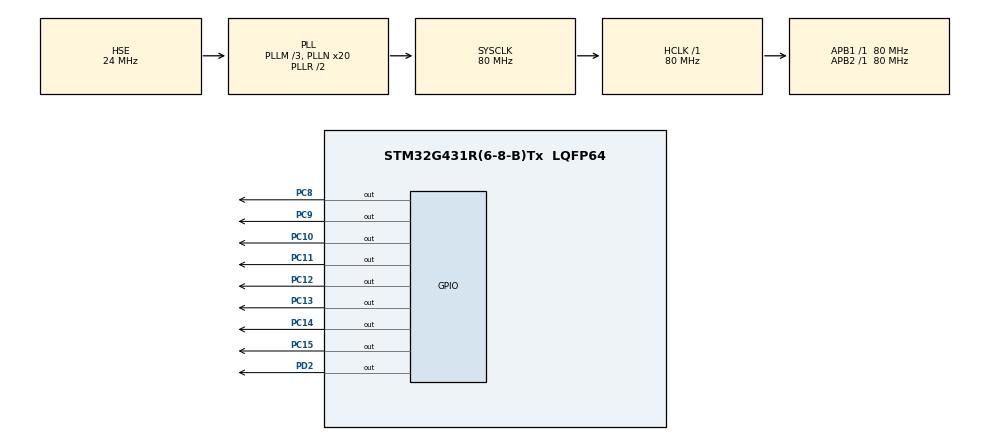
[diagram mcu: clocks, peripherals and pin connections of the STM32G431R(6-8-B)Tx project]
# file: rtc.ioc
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Mcu.Family=STM32G4
Mcu.Name=STM32G431R(6-8-B)Tx
Mcu.Package=LQFP64
NVIC.PriorityGroup=NVIC_PRIORITYGROUP_4
NVIC.TIM3_IRQn=true\:0\:0\:false\:false\:true\:true\:true
PA13.Mode=Serial_Wire
PA13.Signal=SYS_JTMS-SWDIO
PA14.Mode=Serial_Wire
PA14.Signal=SYS_JTCK-SWCLK
PC10.PinState=GPIO_PIN_SET
PC10.Signal=GPIO_Output
PC11.PinState=GPIO_PIN_SET
PC11.Signal=GPIO_Output
PC12.PinState=GPIO_PIN_SET
PC12.Signal=GPIO_Output
PC13.PinState=GPIO_PIN_SET
PC13.Signal=GPIO_Output
PC14-OSC32_IN.PinState=GPIO_PIN_SET
PC14-OSC32_IN.Signal=GPIO_Output
PC15-OSC32_OUT.PinState=GPIO_PIN_SET
PC15-OSC32_OUT.Signal=GPIO_Output
PC8.PinState=GPIO_PIN_SET
PC8.Signal=GPIO_Output
PC9.PinState=GPIO_PIN_SET
PC9.Signal=GPIO_Output
PD2.Signal=GPIO_Output
PF0-OSC_IN.Mode=HSE-External-Oscillator
PF0-OSC_IN.Signal=RCC_OSC_IN
PF1-OSC_OUT.Mode=HSE-External-Oscillator
PF1-OSC_OUT.Signal=RCC_OSC_OUT
ProjectManager.HeapSize=0x200
ProjectManager.StackSize=0x400
ProjectManager.TargetToolchain=MDK-ARM V5
RCC.ADC12Freq_Value=80000000
RCC.AHBFreq_Value=80000000
RCC.APB1Freq_Value=80000000
RCC.APB1TimFreq_Value=80000000
RCC.APB2Freq_Value=80000000
RCC.APB2TimFreq_Value=80000000
RCC.CortexFreq_Value=80000000
RCC.EXTERNAL_CLOCK_VALUE=12288000
RCC.HCLKFreq_Value=80000000
RCC.HSE_VALUE=24000000
RCC.HSI48_VALUE=48000000
RCC.HSI_VALUE=16000000
RCC.LSE_VALUE=32768
RCC.PLLM=RCC_PLLM_DIV3
RCC.PLLN=20
RCC.PLLSourceVirtual=RCC_PLLSOURCE_HSE
RCC.RTCClockSelection=RCC_RTCCLKSOURCE_HSE_DIV32
RCC.SYSCLKFreq_VALUE=80000000
RCC.SYSCLKSource=RCC_SYSCLKSOURCE_PLLCLK
RCC.USBFreq_Value=80000000
RCC.VCOOutputFreq_Value=160000000
RTC.AsynchPrediv=125
RTC.Date=26
RTC.Hours=12
RTC.Month=RTC_MONTH_FEBRUARY
RTC.SynchPrediv=6000
RTC.WeekDay=RTC_WEEKDAY_FRIDAY
TIM3.PeriodNoDither=40000-1
TIM3.Prescaler=8000-1
TIM4.PeriodNoDither=10000-1
TIM4.Prescaler=80-1
VP_RTC_VS_RTC_Activate.Mode=RTC_Enabled
VP_RTC_VS_RTC_Calendar.Mode=RTC_Calendar
VP_SYS_VS_DBSignals.Mode=DisableDeadBatterySignals
VP_TIM3_VS_ClockSourceINT.Mode=Internal
VP_TIM4_VS_ClockSourceINT.Mode=Internal
board=custom

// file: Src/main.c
/* USER CODE BEGIN Header */
/**
  ******************************************************************************
  * @file           : main.c
  * @brief          : Main program body
  ******************************************************************************
  * @attention
  *
  * <h2><center>&copy; Copyright (c) 2024 STMicroelectronics.
  * All rights reserved.</center></h2>
  *
  * This software component is licensed by ST under BSD 3-Clause license,
  * the "License"; You may not use this file except in compliance with the
  * License. You may obtain a copy of the License at:
  *                        opensource.org/licenses/BSD-3-Clause
  *
  ******************************************************************************
  */
/* USER CODE END Header */

#include "main.h"
#include "rtc.h"
#include "tim.h"
#include "gpio.h"

/* USER CODE BEGIN Includes */
#include "string.h"
#include "lcd.h"
#include "stdio.h"
#include "led.h"
__IO uint32_t uwTick_LCD_State_Pointer;
unsigned char Lcd_Disp_String[21];
unsigned int signal1,signal2,plat_flag;
unsigned int platform=1;
int plats[4];
/* USER CODE END Includes */

/* USER CODE BEGIN PV */
RTC_TimeTypeDef 	T;	//时间结构体
RTC_DateTypeDef 	D;	//日期结构体
/* USER CODE END PV */

void SystemClock_Config(void);
/* USER CODE BEGIN PFP */
void LCD_Proc(unsigned int floor);
/* USER CODE END PFP */

int main(void)
{

  /* MCU Configuration--------------------------------------------------------*/

  /* Reset of all peripherals, Initializes the Flash interface and the Systick. */
  HAL_Init();

  /* Configure the system clock */
  SystemClock_Config();

  /* Initialize all configured peripherals */
  MX_GPIO_Init();
  MX_RTC_Init();
  MX_TIM4_Init();
  MX_TIM3_Init();
  /* USER CODE BEGIN 2 */
	LCD_Init();
	LCD_Clear(Black);
	LCD_SetTextColor(White);
  LCD_SetBackColor(Black);
  Close_Led();
	Close_Flow_Led();
	HAL_TIM_Base_Start(&htim3);
  /* USER CODE END 2 */

  /* Infinite loop */
  while (1)
  {

    /* USER CODE BEGIN 3 */

		LCD_Proc(platform);
		//HAL_Delay(200);
  }
  /* USER CODE END 3 */
}

void SystemClock_Config(void)
{
  RCC_OscInitTypeDef RCC_OscInitStruct = {0};
  RCC_ClkInitTypeDef RCC_ClkInitStruct = {0};
  RCC_PeriphCLKInitTypeDef PeriphClkInit = {0};

  /** Configure the main internal regulator output voltage
  */
  HAL_PWREx_ControlVoltageScaling(PWR_REGULATOR_VOLTAGE_SCALE1);
  /** Initializes the CPU, AHB and APB busses clocks
  */
  RCC_OscInitStruct.OscillatorType = RCC_OSCILLATORTYPE_HSE;
  RCC_OscInitStruct.HSEState = RCC_HSE_ON;
  RCC_OscInitStruct.PLL.PLLState = RCC_PLL_ON;
  RCC_OscInitStruct.PLL.PLLSource = RCC_PLLSOURCE_HSE;
  RCC_OscInitStruct.PLL.PLLM = RCC_PLLM_DIV3;
  RCC_OscInitStruct.PLL.PLLN = 20;
  RCC_OscInitStruct.PLL.PLLP = RCC_PLLP_DIV2;
  RCC_OscInitStruct.PLL.PLLQ = RCC_PLLQ_DIV2;
  RCC_OscInitStruct.PLL.PLLR = RCC_PLLR_DIV2;
  if (HAL_RCC_OscConfig(&RCC_OscInitStruct) != HAL_OK)
  {
    Error_Handler();
  }
  /** Initializes the CPU, AHB and APB busses clocks
  */
  RCC_ClkInitStruct.ClockType = RCC_CLOCKTYPE_HCLK|RCC_CLOCKTYPE_SYSCLK
                              |RCC_CLOCKTYPE_PCLK1|RCC_CLOCKTYPE_PCLK2;
  RCC_ClkInitStruct.SYSCLKSource = RCC_SYSCLKSOURCE_PLLCLK;
  RCC_ClkInitStruct.AHBCLKDivider = RCC_SYSCLK_DIV1;
  RCC_ClkInitStruct.APB1CLKDivider = RCC_HCLK_DIV1;
  RCC_ClkInitStruct.APB2CLKDivider = RCC_HCLK_DIV1;

  if (HAL_RCC_ClockConfig(&RCC_ClkInitStruct, FLASH_LATENCY_3) != HAL_OK)
  {
    Error_Handler();
  }
  /** Initializes the peripherals clocks
  */
  PeriphClkInit.PeriphClockSelection = RCC_PERIPHCLK_RTC;
  PeriphClkInit.RTCClockSelection = RCC_RTCCLKSOURCE_HSE_DIV32;

  if (HAL_RCCEx_PeriphCLKConfig(&PeriphClkInit) != HAL_OK)
  {
    Error_Handler();
  }
}

/* USER CODE BEGIN 4 */
void LCD_Proc(uint floor)
{

	char text[30];
	sprintf(text, "        FLOOR        ");
	LCD_DisplayStringLine(Line2, text);
	sprintf(text, "          %d        ",floor);
	LCD_DisplayStringLine(Line3, text);

	if(uwTick-uwTick_LCD_State_Pointer<100) return;
	uwTick_LCD_State_Pointer=uwTick;

	//RTC时间和日期读取函数
	HAL_RTC_GetTime(&hrtc , &T , RTC_FORMAT_BIN);
	HAL_RTC_GetDate(&hrtc , &D , RTC_FORMAT_BIN);	//时间和日期必须同时Get，否则时间无法正常计数

	memset(Lcd_Disp_String,0,sizeof(Lcd_Disp_String));
	sprintf((char*)Lcd_Disp_String, "   Date: %02d-%02d-%02d   " ,D.Year,D.Month,D.Date);	//显示日期22-02-03
	LCD_DisplayStringLine(Line7, Lcd_Disp_String);

	memset(Lcd_Disp_String,0,sizeof(Lcd_Disp_String));
	sprintf((char*)Lcd_Disp_String, "   Time: %02d-%02d-%02d   " ,T.Hours,T.Minutes,T.Seconds);	//显示时间从计数初值12-00-00开始计数
	LCD_DisplayStringLine(Line8, Lcd_Disp_String);
}

/* USER CODE END 4 */

void Error_Handler(void)
{
}

/************************ (C) COPYRIGHT STMicroelectronics *****END OF FILE****/
